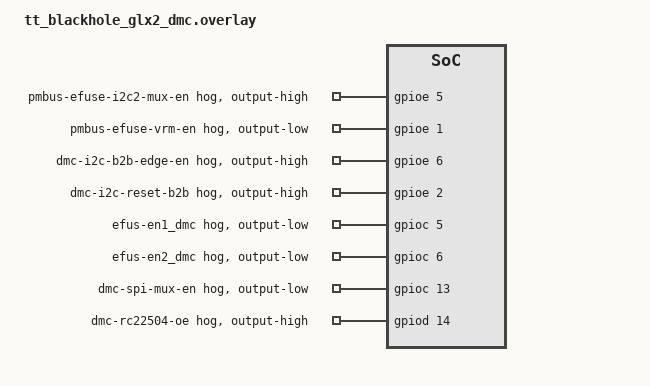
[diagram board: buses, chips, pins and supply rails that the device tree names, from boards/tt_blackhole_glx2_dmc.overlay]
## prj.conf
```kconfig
# Driver configuration
CONFIG_GPIO=y
CONFIG_I2C=y
CONFIG_SPI=y
CONFIG_FLASH=y

# Debug Configuration
CONFIG_DEBUG=y

# Disable watchdog for debugging
CONFIG_WATCHDOG=n

# Logging
CONFIG_LOG=y
CONFIG_CONSOLE=y
CONFIG_SERIAL=y
CONFIG_LOG_MAX_LEVEL=4
CONFIG_LOG_DEFAULT_LEVEL=4
CONFIG_KERNEL_LOG_LEVEL_OFF=y
CONFIG_LOG_RUNTIME_FILTERING=y
CONFIG_LOG_BUFFER_SIZE=32768

# create build/zephyr/zephyr.lst
CONFIG_OUTPUT_DISASSEMBLY=y

# Shell configuration. Backend is per-board.
CONFIG_SHELL=y
CONFIG_SHELL_TAB=y
CONFIG_SHELL_TAB_AUTOCOMPLETION=y
CONFIG_SHELL_HELP=y

# History off: bulk command lines do not fit in it.
CONFIG_SHELL_HISTORY=n

# Sized for a 1024-byte bulk transfer as hex. Ring buffers are per-board.
CONFIG_SHELL_ARGC_MAX=70
CONFIG_SHELL_CMD_BUFF_SIZE=2304

CONFIG_SHELL_STACK_SIZE=8192

CONFIG_I2C_SHELL_BUFFER_SIZE=64

# Shell subsystems. I3C shell is per-board.
CONFIG_GPIO_SHELL=y
CONFIG_I2C_SHELL=y
CONFIG_SPI_SHELL=y
CONFIG_FLASH_SHELL=y
CONFIG_LOG_CMDS=y

# Display subsystem, so the max7219 driver is built.
CONFIG_DISPLAY=y
CONFIG_DISPLAY_LOG_LEVEL_DBG=y
```

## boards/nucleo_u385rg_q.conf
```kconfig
# Enable RTT shell.
CONFIG_USE_SEGGER_RTT=y
CONFIG_SEGGER_RTT_SECTION_NONE=y
CONFIG_SHELL_BACKEND_RTT=y
CONFIG_SHELL_BACKEND_SERIAL=n
CONFIG_SHELL_LOG_BACKEND=y
CONFIG_LOG_BACKEND_RTT=n

# RTT buffers sized for a 1024-byte bulk transfer as hex.
CONFIG_SEGGER_RTT_BUFFER_SIZE_UP=3072
CONFIG_SEGGER_RTT_BUFFER_SIZE_DOWN=2304

# SMBus shell. SMBus initialises after I2C.
CONFIG_SMBUS=y
CONFIG_SMBUS_SHELL=y
CONFIG_SMBUS_INIT_PRIORITY=60
```

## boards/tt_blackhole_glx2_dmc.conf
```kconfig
# GLX2 exposes the interactive shell through SEGGER RTT rather than UART.
CONFIG_CONSOLE=y
CONFIG_UART_CONSOLE=n
CONFIG_SHELL_BACKEND_SERIAL=n
CONFIG_SHELL_PROMPT_UART=""
CONFIG_SHELL_BACKEND_RTT=y
CONFIG_SHELL_PROMPT_RTT="dm_test_app:~$ "
CONFIG_SHELL_ECHO_STATUS=n
CONFIG_SHELL_LOG_BACKEND=y
CONFIG_LOG_BACKEND_RTT=n
CONFIG_RTT_CONSOLE=y
CONFIG_SEGGER_RTT_SECTION_NONE=y
CONFIG_FLASH_JESD216_API=y

# RTT down buffer sized for a 1024-byte bulk transfer as hex.
CONFIG_SEGGER_RTT_BUFFER_SIZE_DOWN=2304

# SMBus shell. SMBus initialises after I2C.
CONFIG_SMBUS=y
CONFIG_SMBUS_SHELL=y
CONFIG_SMBUS_INIT_PRIORITY=60
```

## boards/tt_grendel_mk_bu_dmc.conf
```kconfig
# SMBus shell. SMBus initialises after I2C.
CONFIG_SMBUS=y
CONFIG_SMBUS_SHELL=y
CONFIG_SMBUS_INIT_PRIORITY=60

# UART shell on uart4, ring buffers sized for a 1024-byte bulk transfer as hex.
CONFIG_UART_CONSOLE=y
CONFIG_SHELL_BACKEND_SERIAL=y
CONFIG_SHELL_BACKEND_SERIAL_RX_RING_BUFFER_SIZE=2304
CONFIG_SHELL_BACKEND_SERIAL_TX_RING_BUFFER_SIZE=512

# Second shell on the USB-C port as CDC ACM.
CONFIG_USB_DEVICE_STACK_NEXT=y
CONFIG_USBD_CDC_ACM_CLASS=y
CONFIG_TT_USB_SHELL=y
CONFIG_CDC_ACM_SERIAL_INITIALIZE_AT_BOOT=y
CONFIG_CDC_ACM_SERIAL_PRODUCT_STRING="MK DMC shell"
CONFIG_CDC_ACM_SERIAL_MANUFACTURER_STRING="Tenstorrent"
CONFIG_UART_LINE_CTRL=y

# USB at DBG floods the UART shell during enumeration.
CONFIG_USBD_LOG_LEVEL_WRN=y
CONFIG_USBD_CDC_ACM_LOG_LEVEL_WRN=y
CONFIG_UDC_DRIVER_LOG_LEVEL_WRN=y

# I3C controller and OCCP over it. The mk_i3c_*.overlay files select the instance.
CONFIG_I3C=y
CONFIG_I3C_DUAL_ROLE=y
CONFIG_I3C_USE_IBI=n
CONFIG_I3C_SHELL=y
CONFIG_OCCP=y
CONFIG_OCCP_BACKEND_I3C=y

# I3C at DBG: this is the bus under bring-up.
CONFIG_I3C_LOG_LEVEL_DBG=y
CONFIG_I3C_STM32_LOG_LEVEL_DBG=y
```

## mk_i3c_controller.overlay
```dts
/*
 * Copyright (c) 2026 Tenstorrent AI ULC
 *
 * SPDX-License-Identifier: Apache-2.0
 */

/* MK BU DMC as I3C controller on i3c1, with the Binho Supernova as a known target. */

&i3c1 {
	status = "okay";

	binho_target: binho_target@2a020800000002 {
		compatible = "tenstorrent,smc-remoteproc";
		reg = <0x2a 0x0208 0x00000002>;
		status = "okay";
	};
};
```

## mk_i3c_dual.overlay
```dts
/*
 * Copyright (c) 2026 Tenstorrent AI ULC
 *
 * SPDX-License-Identifier: Apache-2.0
 */

/* MK BU DMC with both I3C roles in one image: i3c1 controller, i3c2 target. */

/ {
	aliases {
		i3c-target-dev = &i3c2;
	};
};

&i3c1 {
	status = "okay";

	binho_target: binho_target@2a020800000002 {
		compatible = "tenstorrent,smc-remoteproc";
		reg = <0x2a 0x0208 0x00000002>;
		status = "okay";
	};
};

&i3c2 {
	status = "okay";
	target-mode;
	mipi-instance = <0x8>;
};
```

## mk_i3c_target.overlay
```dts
/*
 * Copyright (c) 2026 Tenstorrent AI ULC
 *
 * SPDX-License-Identifier: Apache-2.0
 */

/* MK BU DMC as I3C target on i3c1, with the Binho Supernova as controller. */

/ {
	aliases {
		i3c-target-dev = &i3c1;
	};
};

&i3c1 {
	status = "okay";
	target-mode;
	mipi-instance = <0x8>;
};
```

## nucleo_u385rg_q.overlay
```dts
/*
 * Copyright (c) 2026 Tenstorrent AI ULC
 *
 * SPDX-License-Identifier: Apache-2.0
 */

/*
 * SPI test overlay for dm_test_app - nucleo_u385rg_q board only
 */
&spi1 {
	max7221: max7221@0 {
		compatible = "maxim,max7219";
		reg = <0>;
		spi-max-frequency = <1000000>;
		num-cascading = <1>;
		intensity = <8>;
		scan-limit = <7>;
	};
};

/ {
	aliases {
		i3c-target-dev = &i3c1;
	};
};

&i3c1 {
	pinctrl-0 = <&i3c1_scl_pb2 &i3c1_sda_pc1>;
	pinctrl-names = "default";
	status = "okay";
	i3c-scl-hz = <1000000>;   /* 1 MHz I3C frequency */
	i2c-scl-hz = <400000>;    /* 400 kHz I2C Fast Mode */
	target-mode;
	mipi-instance = <0x8>;
};

&i3c2 {
	pinctrl-0 = <&i3c2_scl_pb10 &i3c2_sda_pb14>;
	pinctrl-names = "default";
	status = "okay";
	i3c-scl-hz = <1000000>;   /* 1 MHz I3C frequency */
	i2c-scl-hz = <400000>;    /* 400 kHz I2C Fast Mode */

	i3c2_smc_remoteproc: smc_remoteproc@20813818000 {
		compatible = "tenstorrent,smc-remoteproc";
		reg = <0x0000 0x0208 0x13818000>;
		status = "okay";
	};
};
```

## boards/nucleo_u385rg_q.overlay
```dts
/*
 * Copyright (c) 2026 Tenstorrent AI ULC
 *
 * SPDX-License-Identifier: Apache-2.0
 */

/* GLX2 CMB stand-in. i2c3 and i2c2 SMBA use other pins: the CMB pads are not on LQFP64. */

/* Pins reused for I2C. */
&spi1 {
	status = "disabled";
};

&spi3 {
	status = "disabled";
};

/* i3c1 SCL moved off PB2, which i2c3 SMBA uses. */
&i3c1 {
	pinctrl-0 = <&i3c1_scl_pb13 &i3c1_sda_pc1>;
};

&i2c1 {
	pinctrl-0 = <&i2c1_scl_pb6 &i2c1_sda_pb7 &i2c1_smba_pb5>;
	pinctrl-names = "default";
	status = "okay";
};

&i2c2 {
	pinctrl-0 = <&i2c2_scl_pb10 &i2c2_sda_pa6 &i2c2_smba_pa1>;
	pinctrl-names = "default";
	status = "okay";
};

&i2c3 {
	pinctrl-0 = <&i2c3_scl_pa7 &i2c3_sda_pb4 &i2c3_smba_pb2>;
	pinctrl-names = "default";
	status = "okay";
};

/* SMBus over each I2C bus. The driver needs its own pinctrl-0. */
/ {
	smbus1: smbus1 {
		compatible = "st,stm32-smbus";
		#address-cells = <1>;
		#size-cells = <0>;
		i2c = <&i2c1>;
		pinctrl-0 = <&i2c1_scl_pb6 &i2c1_sda_pb7 &i2c1_smba_pb5>;
		pinctrl-names = "default";
		status = "okay";
	};

	smbus2: smbus2 {
		compatible = "st,stm32-smbus";
		#address-cells = <1>;
		#size-cells = <0>;
		i2c = <&i2c2>;
		pinctrl-0 = <&i2c2_scl_pb10 &i2c2_sda_pa6 &i2c2_smba_pa1>;
		pinctrl-names = "default";
		status = "okay";
	};

	smbus3: smbus3 {
		compatible = "st,stm32-smbus";
		#address-cells = <1>;
		#size-cells = <0>;
		i2c = <&i2c3>;
		pinctrl-0 = <&i2c3_scl_pa7 &i2c3_sda_pb4 &i2c3_smba_pb2>;
		pinctrl-names = "default";
		status = "okay";
	};
};
```

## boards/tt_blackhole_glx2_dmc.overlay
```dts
/*
 * Copyright (c) 2026 Tenstorrent AI ULC
 *
 * SPDX-License-Identifier: Apache-2.0
 */

#include <zephyr/dt-bindings/gpio/gpio.h>

&gpioe {
	status = "okay";

	/*
	 * BRING-UP: PE5 -- OE of U2202, eFuse PMBus onto DMC_I2C2.
	 */
	pmbus-efuse-i2c2-mux-en {
		gpio-hog;
		gpios = <5 GPIO_ACTIVE_HIGH>;
		output-high;
	};

	/*
	 * BRING-UP: PE1 -- PMBUS_EFUSE_VRM_EN_Z, reaching U231 through inverter U234, so GND
	 * is what closes the bridge. output-low is that GND.
	 */
	pmbus-efuse-vrm-en {
		gpio-hog;
		gpios = <1 GPIO_ACTIVE_HIGH>;
		output-low;
	};

	/*
	 * BRING-UP: PE6 -- DMC_I2C_B2B_EDGE_EN, OE of U232.
	 */
	dmc-i2c-b2b-edge-en {
		gpio-hog;
		gpios = <6 GPIO_ACTIVE_HIGH>;
		output-high;
	};

	/*
	 * BRING-UP: PE2 -- DMC_I2C_RESET_B2B_Z, reset of the U2201 TCA9546A mux. Active low,
	 * so high is out of reset and output-high is that release.
	 */
	dmc-i2c-reset-b2b {
		gpio-hog;
		gpios = <2 GPIO_ACTIVE_HIGH>;
		output-high;
	};
};

&gpioc {
	status = "okay";

	/*
	 * BRING-UP: PC5 -- GPIO1 for EFuse state enable. Disabled by default.
	 */
	efus-en1_dmc {
		gpio-hog;
		gpios = <5 GPIO_ACTIVE_HIGH>;
		output-low;
	};

	/*
	 * BRING-UP: PC6 -- GPIO2 for EFuse state enable. Disabled by default.
	 */
	efus-en2_dmc {
		gpio-hog;
		gpios = <6 GPIO_ACTIVE_HIGH>;
		output-low;
	};

	/*
	 * BRING-UP: PC13 -- DMC_SPI_MUX_EN_Z, the shared enable of the three cascaded
	 * TMUX1574 SPI muxes on sheet 28. Active low, so output-low is what turns them
	 * on.
	 */
	dmc-spi-mux-en {
		gpio-hog;
		gpios = <13 GPIO_ACTIVE_HIGH>;
		output-low;
	};
};

/*
 * BRING-UP: PD14 -- DMC_RC22504_OE_Z, the OE_nCS pin of the RC22504A reference
 * clock generator (U400) on sheet 24.
 */
&gpiod {
	status = "okay";

	dmc-rc22504-oe {
		gpio-hog;
		gpios = <14 GPIO_ACTIVE_HIGH>;
		output-high;
	};
};

/*
 * SMBus controllers over i2c1 and i2c2, for the `smbus` shell. smbus3 is not
 * declared here: the board devicetree defines it, with the Blackhole ARC as
 * a child at 0x0a, so a copy here would only merge into that node.
 */
/ {
	smbus1: smbus1 {
		compatible = "st,stm32-smbus";
		#address-cells = <1>;
		#size-cells = <0>;
		i2c = <&i2c1>;
		pinctrl-0 = <&i2c1_scl_pb6 &i2c1_sda_pb7 &i2c1_smba_pb5>;
		pinctrl-names = "default";
		status = "okay";
	};

	smbus2: smbus2 {
		compatible = "st,stm32-smbus";
		#address-cells = <1>;
		#size-cells = <0>;
		i2c = <&i2c2>;
		pinctrl-0 = <&i2c2_scl_pb10 &i2c2_sda_pa6 &i2c2_smba_pb12>;
		pinctrl-names = "default";
		status = "okay";
	};
};
```

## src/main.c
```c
/*
 * Copyright (c) 2026 Tenstorrent AI ULC
 *
 * SPDX-License-Identifier: Apache-2.0
 */

#include <zephyr/kernel.h>
#include <zephyr/logging/log.h>
#include <zephyr/shell/shell.h>
#include <errno.h>
#include <stdlib.h>
#include <string.h>

#if DT_NODE_EXISTS(DT_NODELABEL(max7221))
#include <zephyr/drivers/spi.h>
#endif

/* The i3c-target-dev alias names the instance the app serves as an I3C target. */
#if DT_HAS_ALIAS(i3c_target_dev)
#include <zephyr/drivers/i3c.h>
#include <zephyr/drivers/i3c/target_device.h>
#endif

LOG_MODULE_REGISTER(dm_test_app, LOG_LEVEL_INF);

#if DT_HAS_ALIAS(i3c_target_dev)
BUILD_ASSERT(IS_ENABLED(CONFIG_I3C_TARGET), "i3c-target-dev needs CONFIG_I3C_TARGET");
BUILD_ASSERT(DT_PROP_OR(DT_ALIAS(i3c_target_dev), target_mode, 0),
	     "i3c-target-dev must point at an instance with target-mode");

static const struct device *i3c_dev = DEVICE_DT_GET(DT_ALIAS(i3c_target_dev));

static uint8_t value;

static int target_prefill(void)
{
	return i3c_target_tx_write(i3c_dev, NULL, 8U, I3C_MSG_HDR_MODE0);
}

/* I3C target callback functions */
static int i3c_target_write_requested_cb(struct i3c_target_config *config)
{
	ARG_UNUSED(config);
	LOG_INF("I3C Target: Write requested callback entered");
	return 0;
}

static int i3c_target_write_received_cb(struct i3c_target_config *config, uint8_t val)
{
	ARG_UNUSED(config);
	LOG_INF("I3C Target: Write received callback entered, received: 0x%02x", val);
	return 0;
}

static int i3c_target_read_requested_cb(struct i3c_target_config *config, uint8_t *val)
{
	ARG_UNUSED(config);
	ARG_UNUSED(val);
	target_prefill();
	return 0;
}

static int i3c_target_read_processed_cb(struct i3c_target_config *config, uint8_t *val)
{
	ARG_UNUSED(config);
	*val = value++; /* Return dummy data */
	return 0;
}

static int i3c_target_stop_cb(struct i3c_target_config *config)
{
	ARG_UNUSED(config);
	LOG_INF("I3C Target: Stop callback entered");
	return 0;
}

/* I3C target callbacks structure */
static const struct i3c_target_callbacks i3c_target_callbacks = {
	.write_requested_cb = i3c_target_write_requested_cb,
	.write_received_cb = i3c_target_write_received_cb,
	.read_requested_cb = i3c_target_read_requested_cb,
	.read_processed_cb = i3c_target_read_processed_cb,
	.stop_cb = i3c_target_stop_cb,
};

/* I3C target configuration */
static struct i3c_target_config i3c_target_config = {
	.callbacks = &i3c_target_callbacks,
};

#endif

#if DT_NODE_EXISTS(DT_NODELABEL(max7221))
/*
 * POST-code display on the MAX7221 (U67) driving two LDQ-N514RI 4-digit
 * displays -- 8 digits total.
 *
 * The Zephyr max7219 display driver initialises the part (out of shutdown,
 * no-decode, intensity, scan limit); this writes the digit registers directly
 * over the same SPI spec, which keeps CS and clock timing under the SPI
 * driver's control. Frames assembled from separate shell commands do not latch
 * reliably, so POST codes are written here rather than from the host.
 */
#define MAX7221_REG_DIGIT0 0x01

/* No-decode segment mapping (datasheet Table 6): D7=DP, D6..D0 = A,B,C,D,E,F,G */
#define SEG_A  0x40
#define SEG_B  0x20
#define SEG_C  0x10
#define SEG_D  0x08
#define SEG_E  0x04
#define SEG_F  0x02
#define SEG_G  0x01
#define SEG_DP 0x80

/* Hex font 0-F. */
static const uint8_t post_font_hex[16] = {
	SEG_A | SEG_B | SEG_C | SEG_D | SEG_E | SEG_F,         /* 0 */
	SEG_B | SEG_C,                                         /* 1 */
	SEG_A | SEG_B | SEG_D | SEG_E | SEG_G,                 /* 2 */
	SEG_A | SEG_B | SEG_C | SEG_D | SEG_G,                 /* 3 */
	SEG_B | SEG_C | SEG_F | SEG_G,                         /* 4 */
	SEG_A | SEG_C | SEG_D | SEG_F | SEG_G,                 /* 5 */
	SEG_A | SEG_C | SEG_D | SEG_E | SEG_F | SEG_G,         /* 6 */
	SEG_A | SEG_B | SEG_C,                                 /* 7 */
	SEG_A | SEG_B | SEG_C | SEG_D | SEG_E | SEG_F | SEG_G, /* 8 */
	SEG_A | SEG_B | SEG_C | SEG_D | SEG_F | SEG_G,         /* 9 */
	SEG_A | SEG_B | SEG_C | SEG_E | SEG_F | SEG_G,         /* A */
	SEG_C | SEG_D | SEG_E | SEG_F | SEG_G,                 /* b */
	SEG_A | SEG_D | SEG_E | SEG_F,                         /* C */
	SEG_B | SEG_C | SEG_D | SEG_E | SEG_G,                 /* d */
	SEG_A | SEG_D | SEG_E | SEG_F | SEG_G,                 /* E */
	SEG_A | SEG_E | SEG_F | SEG_G,                         /* F */
};

/* Letters used by the "POST" banner. */
#define GLYPH_P (SEG_A | SEG_B | SEG_E | SEG_F | SEG_G)
#define GLYPH_O (SEG_A | SEG_B | SEG_C | SEG_D | SEG_E | SEG_F)
#define GLYPH_S (SEG_A | SEG_C | SEG_D | SEG_F | SEG_G)
#define GLYPH_T (SEG_D | SEG_E | SEG_F | SEG_G)

static const struct spi_dt_spec max7221_spi =
	SPI_DT_SPEC_GET(DT_NODELABEL(max7221), SPI_WORD_SET(8) | SPI_OP_MODE_MASTER);

static int max7221_write(uint8_t reg, uint8_t val)
{
	uint8_t frame[2] = {reg, val};
	const struct spi_buf buf = {.buf = frame, .len = sizeof(frame)};
	const struct spi_buf_set tx = {.buffers = &buf, .count = 1};

	return spi_write_dt(&max7221_spi, &tx);
}

/* Write the 8 digit registers from a segment-pattern array, DIG0 first. */
static int post_display_raw(const uint8_t segs[8])
{
	for (int digit = 0; digit < 8; digit++) {
		int ret = max7221_write(MAX7221_REG_DIGIT0 + digit, segs[digit]);

		if (ret < 0) {
			LOG_ERR("MAX7221 digit %d write failed: %d", digit, ret);
			return ret;
		}
	}
	return 0;
}

/*
 * Physical left-to-right position -> MAX7221 DIG index.
 *
 * Measured on the bench with `post map`: the leftmost four positions are D21
 * carrying DIG4..DIG7, then D22 carrying DIG0..DIG3. Everything above this
 * function works in reading order and lets this table do the translation.
 */
static const uint8_t post_pos_to_dig[8] = {4, 5, 6, 7, 0, 1, 2, 3};

/*
 * 180-degree rotation, for a fixture that mounts the board upside down.
 *
 * Two independent transforms, and both are needed -- doing either alone leaves
 * the display unreadable:
 *
 *   X: the digit order reverses. What was the leftmost physical position is now
 *      the viewer's rightmost.
 *   Y: each glyph is rotated, which on seven segments is a segment swap:
 *      a<->d, b<->e, c<->f, with g mapping to itself. The decimal point has no
 *      rotated counterpart and is left where it is.
 *
 * Rotating is not the same as re-reading a mirrored display: some glyphs are
 * symmetric (0 2 5 8 and blank), but others become a *different* character --
 * 6 and 9 swap, and 7 becomes L. So the transform has to be applied to the
 * segment data; you cannot compensate by squinting.
 *
 * The transform is its own inverse, so `post flip` toggles cleanly.
 *
 * Defaults to enabled to match the current fixture. `post flip off` restores
 * the upright mapping without a reflash, since fixtures change more often than
 * firmware.
 */
static bool post_flipped = true;

static uint8_t post_rotate_segments(uint8_t segs)
{
	uint8_t out = segs & (SEG_G | SEG_DP);

	if (segs & SEG_A) {
		out |= SEG_D;
	}
	if (segs & SEG_D) {
		out |= SEG_A;
	}
	if (segs & SEG_B) {
		out |= SEG_E;
	}
	if (segs & SEG_E) {
		out |= SEG_B;
	}
	if (segs & SEG_C) {
		out |= SEG_F;
	}
	if (segs & SEG_F) {
		out |= SEG_C;
	}
	return out;
}

/* The MAX7221 digit that shows reading-order position `pos`. */
static uint8_t post_dig_for(int pos)
{
	return post_pos_to_dig[post_flipped ? (8 - 1 - pos) : pos];
}

/* Write segment patterns given in reading order (leftmost first). */
static int post_display_positions(const uint8_t pos_segs[8])
{
	uint8_t segs[8] = {0};

	for (int pos = 0; pos < 8; pos++) {
		uint8_t value = pos_segs[pos];

		if (post_flipped) {
			value = post_rotate_segments(value);
		}
		segs[post_dig_for(pos)] = value;
	}
	return post_display_raw(segs);
}

/* Show "POST" then a 4-digit hex code, in reading order. */
static int post_code_show(uint16_t code)
{
	const uint8_t pos_segs[8] = {
		GLYPH_P,
		GLYPH_O,
		GLYPH_S,
		GLYPH_T,
		post_font_hex[(code >> 12) & 0xF],
		post_font_hex[(code >> 8) & 0xF],
		post_font_hex[(code >> 4) & 0xF],
		post_font_hex[code & 0xF],
	};

	LOG_INF("POST code %04x", code);
	return post_display_positions(pos_segs);
}

/* Light every segment of every digit from the digit registers (not display
 * test) -- proves each digit position works with real data.
 */
static int post_all_segments(void)
{
	uint8_t segs[8];

	memset(segs, 0xFF, sizeof(segs));
	return post_display_raw(segs);
}

/* Write numeral N into digit N: the display then spells out its own physical
 * digit order, so the DIG-to-position mapping can be read at a glance.
 */
static int post_map_digits(void)
{
	uint8_t pos_segs[8];

	/* Numeral N at physical position N: reads 01234567 left to right when
	 * post_pos_to_dig is correct -- a one-glance self-check of the mapping.
	 */
	for (int pos = 0; pos < 8; pos++) {
		pos_segs[pos] = post_font_hex[pos];
	}
	return post_display_positions(pos_segs);
}

/* Walk one digit at a time so a dead position is obvious. */
static int post_walk_digits(const struct shell *sh)
{
	for (int pos = 0; pos < 8; pos++) {
		uint8_t pos_segs[8] = {0};

		pos_segs[pos] = 0xFF;
		int ret = post_display_positions(pos_segs);

		if (ret < 0) {
			return ret;
		}
		shell_print(sh, "  position %d from left lit (DIG%d)", pos + 1, post_dig_for(pos));
		k_sleep(K_MSEC(1200));
	}
	return 0;
}

/*
 * Full seven-segment character library: '0'-'9', 'A'-'Z', space and a little
 * punctuation.
 *
 * Seven segments cannot draw the whole alphabet, so this table is explicit about
 * how each letter is compromised rather than quietly showing something wrong:
 *
 *   - POST_ALPHA_LOWERCASE (B D N R T): the uppercase glyph would be
 *     indistinguishable from a digit -- uppercase 'B' reads as '8', 'D' as '0' --
 *     so the lowercase form is used. Legible, just not the case you typed.
 *   - POST_ALPHA_APPROX (K M V W X): no seven-segment form exists. K and X fall
 *     back to the 'H' shape, M to a top-and-shoulders shape, V and W to the 'U'
 *     shape. These are stand-ins and will not read as the intended letter.
 *   - Inherently ambiguous with digits, and left that way because the shapes are
 *     genuinely identical: I/1, O/0, S/5, Z/2, and G is close to 6.
 *
 * '$' has no form either and renders as 'S', which is the conventional stand-in.
 */
#define POST_GLYPH_NONE 0xFF

/* 'A' through 'Z'. */
static const uint8_t post_font_alpha[26] = {
	SEG_A | SEG_B | SEG_C | SEG_E | SEG_F | SEG_G, /* A */
	SEG_C | SEG_D | SEG_E | SEG_F | SEG_G,         /* b (lowercase) */
	SEG_A | SEG_D | SEG_E | SEG_F,                 /* C */
	SEG_B | SEG_C | SEG_D | SEG_E | SEG_G,         /* d (lowercase) */
	SEG_A | SEG_D | SEG_E | SEG_F | SEG_G,         /* E */
	SEG_A | SEG_E | SEG_F | SEG_G,                 /* F */
	SEG_A | SEG_C | SEG_D | SEG_E | SEG_F,         /* G (close to 6) */
	SEG_B | SEG_C | SEG_E | SEG_F | SEG_G,         /* H */
	SEG_B | SEG_C,                                 /* I (same as 1) */
	SEG_B | SEG_C | SEG_D | SEG_E,                 /* J */
	SEG_B | SEG_C | SEG_E | SEG_F | SEG_G,         /* K -- approx, H shape */
	SEG_D | SEG_E | SEG_F,                         /* L */
	SEG_A | SEG_C | SEG_E,                         /* M -- approx */
	SEG_C | SEG_E | SEG_G,                         /* n (lowercase) */
	SEG_A | SEG_B | SEG_C | SEG_D | SEG_E | SEG_F, /* O (same as 0) */
	SEG_A | SEG_B | SEG_E | SEG_F | SEG_G,         /* P */
	SEG_A | SEG_B | SEG_C | SEG_F | SEG_G,         /* Q */
	SEG_E | SEG_G,                                 /* r (lowercase) */
	SEG_A | SEG_C | SEG_D | SEG_F | SEG_G,         /* S (same as 5) */
	SEG_D | SEG_E | SEG_F | SEG_G,                 /* t (lowercase) */
	SEG_B | SEG_C | SEG_D | SEG_E | SEG_F,         /* U */
	SEG_B | SEG_C | SEG_D | SEG_E | SEG_F,         /* V -- approx, U shape */
	SEG_B | SEG_C | SEG_D | SEG_E | SEG_F,         /* W -- approx, U shape */
	SEG_B | SEG_C | SEG_E | SEG_F | SEG_G,         /* X -- approx, H shape */
	SEG_B | SEG_C | SEG_D | SEG_F | SEG_G,         /* Y */
	SEG_A | SEG_B | SEG_D | SEG_E | SEG_G,         /* Z (same as 2) */
};

/* Bit n = letter 'A' + n. Rendered lowercase because uppercase would read as a digit. */
#define POST_ALPHA_LOWERCASE                                                                       \
	(BIT('B' - 'A') | BIT('D' - 'A') | BIT('N' - 'A') | BIT('R' - 'A') | BIT('T' - 'A'))

/* Bit n = letter 'A' + n. No seven-segment form; the glyph is a stand-in. */
#define POST_ALPHA_APPROX                                                                          \
	(BIT('K' - 'A') | BIT('M' - 'A') | BIT('V' - 'A') | BIT('W' - 'A') | BIT('X' - 'A'))

/* True if this letter's glyph is a compromise worth telling the operator about. */
bool post_glyph_is_exact(char ch)
{
	if (ch >= 'a' && ch <= 'z') {
		ch = ch - 'a' + 'A';
	}
	if (ch < 'A' || ch > 'Z') {
		return ch != '$';
	}
	return !(BIT(ch - 'A') & (POST_ALPHA_LOWERCASE | POST_ALPHA_APPROX));
}

static uint8_t post_glyph(char ch)
{
	if (ch >= '0' && ch <= '9') {
		return post_font_hex[ch - '0'];
	}
	if (ch >= 'a' && ch <= 'z') {
		ch = ch - 'a' + 'A';
	}
	if (ch >= 'A' && ch <= 'Z') {
		return post_font_alpha[ch - 'A'];
	}

	switch (ch) {
	case ' ':
		return 0;
	case '$':
		return post_font_alpha['S' - 'A']; /* no glyph; 'S' stands in */
	case '-':
		return SEG_G;
	case '_':
		return SEG_D;
	case '=':
		return SEG_D | SEG_G;
	case '.':
		return SEG_DP;
	case '?':
		return SEG_A | SEG_B | SEG_E | SEG_G;
	case '*':
		return SEG_A | SEG_B | SEG_F | SEG_G; /* degree-ish */
	default:
		return POST_GLYPH_NONE;
	}
}

/* Show an arbitrary string, left-aligned, blanking any unused digits. */
static int post_text_show(const struct shell *sh, const char *text)
{
	uint8_t pos_segs[8] = {0};
	char compromised[9] = {0};
	size_t n_compromised = 0;
	size_t len = strlen(text);

	if (len > ARRAY_SIZE(pos_segs)) {
		shell_error(sh, "\"%s\" is %u characters; the display has %u digits", text,
			    (unsigned int)len, (unsigned int)ARRAY_SIZE(pos_segs));
		return -EINVAL;
	}

	for (size_t i = 0; i < len; i++) {
		uint8_t segs = post_glyph(text[i]);

		if (segs == POST_GLYPH_NONE) {
			shell_error(sh, "no seven-segment glyph for '%c'", text[i]);
			return -EINVAL;
		}
		pos_segs[i] = segs;

		if (!post_glyph_is_exact(text[i])) {
			compromised[n_compromised++] = text[i];
		}
	}

	if (n_compromised > 0) {
		shell_warn(sh, "%s rendered as a lowercase or approximate glyph", compromised);
	}

	LOG_INF("POST text \"%s\"", text);
	return post_display_positions(pos_segs);
}

/*
 * Scroll a message right-to-left across the 8 digits.
 *
 * The segment buffer is padded with a blank display's worth on each side, so the
 * text slides in from the right and out to the left rather than appearing
 * mid-screen. Each frame is one position further along that buffer. The scroll
 * ends resting on the message's first characters, because finishing on a blank
 * display looks like a failure.
 *
 * This blocks the shell for repeats * (len + 8) * POST_BANNER_STEP_MS, the same
 * way `post walk` does.
 */
#define POST_BANNER_MAX         32
#define POST_BANNER_STEP_MS     220
#define POST_BANNER_MAX_REPEATS 20

static int post_banner_show(const struct shell *sh, const char *text, unsigned int repeats)
{
	uint8_t segs[POST_BANNER_MAX + 2 * 8] = {0};
	size_t len = strlen(text);

	if (len == 0 || len > POST_BANNER_MAX) {
		shell_error(sh, "banner text must be 1 to %u characters",
			    (unsigned int)POST_BANNER_MAX);
		return -EINVAL;
	}
	if (repeats == 0 || repeats > POST_BANNER_MAX_REPEATS) {
		shell_error(sh, "repeats must be 1 to %u", POST_BANNER_MAX_REPEATS);
		return -EINVAL;
	}

	for (size_t i = 0; i < len; i++) {
		uint8_t glyph = post_glyph(text[i]);

		if (glyph == POST_GLYPH_NONE) {
			shell_error(sh, "no seven-segment glyph for '%c'", text[i]);
			return -EINVAL;
		}
		segs[8 + i] = glyph;
	}

	LOG_INF("POST banner \"%s\" x%u", text, repeats);

	for (unsigned int pass = 0; pass < repeats; pass++) {
		/* Frame 0 is an all-blank window, so start at 1. */
		for (size_t frame = 1; frame <= len + 8; frame++) {
			int ret = post_display_positions(&segs[frame]);

			if (ret < 0) {
				return ret;
			}
			k_sleep(K_MSEC(POST_BANNER_STEP_MS));
		}
	}

	/* Rest on the start of the message rather than on a blank display. */
	return post_display_positions(&segs[8]);
}

static int cmd_post(const struct shell *sh, size_t argc, char **argv)
{
	int ret;

	if (strcmp(argv[1], "test") == 0) {
		ret = post_all_segments();
		if (ret == 0) {
			shell_print(sh, "all digits: every segment on (from digit data)");
		}
	} else if (strcmp(argv[1], "walk") == 0) {
		ret = post_walk_digits(sh);
	} else if (strcmp(argv[1], "flip") == 0) {
		if (argc > 2) {
			if (strcmp(argv[2], "on") == 0) {
				post_flipped = true;
			} else if (strcmp(argv[2], "off") == 0) {
				post_flipped = false;
			} else {
				shell_error(sh, "usage: post flip [on|off]");
				return -EINVAL;
			}
		} else {
			post_flipped = !post_flipped;
		}
		ret = post_code_show(0x0001);
		shell_print(sh, "display rotation %s",
			    post_flipped ? "ON (fixture upside down)" : "OFF (upright)");
	} else if (strcmp(argv[1], "banner") == 0) {
		unsigned int repeats = 1;

		if (argc < 3) {
			shell_error(sh, "usage: post banner <string> [repeats]");
			return -EINVAL;
		}
		if (argc > 3) {
			repeats = (unsigned int)strtoul(argv[3], NULL, 10);
		}
		ret = post_banner_show(sh, argv[2], repeats);
		if (ret == 0) {
			shell_print(sh, "scrolled \"%s\" %u time(s)", argv[2], repeats);
		}
	} else if (strcmp(argv[1], "text") == 0) {
		if (argc < 3) {
			shell_error(sh, "usage: post text <string>");
			return -EINVAL;
		}
		ret = post_text_show(sh, argv[2]);
		if (ret == 0) {
			shell_print(sh, "displayed \"%s\"", argv[2]);
		}
	} else if (strcmp(argv[1], "map") == 0) {
		ret = post_map_digits();
		if (ret == 0) {
			shell_print(sh, "digit N shows numeral N -- read the display "
					"left to right to get the physical order");
		}
	} else {
		uint16_t code = (uint16_t)strtoul(argv[1], NULL, 16);

		ret = post_code_show(code);
		if (ret == 0) {
			shell_print(sh, "POST %04x displayed", code);
		}
	}

	if (ret < 0) {
		shell_error(sh, "failed to write display: %d", ret);
	}
	return ret;
}

SHELL_CMD_ARG_REGISTER(
	post, NULL,
	"MAX7221 POST-code display\n"
	"Usage: post <hex code>   e.g. post 0042\n"
	"       post test         all segments on, every digit\n"
	"       post walk         light one digit at a time\n"
	"       post map          write numeral N into digit N\n"
	"       post banner <str> [n]  scroll up to 32 characters, n times\n"
	"       post flip [on|off]     180-degree rotation for a flipped\n"
	"                              fixture; toggles when given no argument\n"
	"       post text <str>   show up to 8 characters, e.g. post text DANIEL\n"
	"                         A-Z, 0-9, space and - _ = . ? * are renderable\n"
	"                         B D N R T show lowercase; K M V W X are approximations",
	cmd_post, 2, 2);
#endif /* max7221 */

int main(void)
{
	LOG_INF("Hello World! This is dm_test_app running on %s", CONFIG_BOARD);

#if DT_NODE_EXISTS(DT_NODELABEL(max7221))
	/* Boot POST code: 0x0001 = firmware reached main(). */
	post_code_show(0x0001);
#endif

#if DT_HAS_ALIAS(i3c_target_dev)
	int ret;

	if (!device_is_ready(i3c_dev)) {
		LOG_ERR("I3C device is not ready");
		return -ENODEV;
	}

	/* Register I3C target with address 0 */
	ret = i3c_target_register(i3c_dev, &i3c_target_config);
	if (ret < 0) {
		LOG_ERR("Failed to register I3C target: %d", ret);
		return ret;
	}

	target_prefill();

	LOG_INF("I3C target registered successfully");
#endif

	while (1) {
		k_sleep(K_SECONDS(5));
	}

	return 0;
}
```

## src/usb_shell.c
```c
/*
 * Copyright (c) 2026 Tenstorrent AI ULC
 *
 * SPDX-License-Identifier: Apache-2.0
 */

/*
 * A second shell instance, on the USB CDC ACM port.
 *
 * Zephyr's serial shell backend is a single instance bound to the
 * ``zephyr,shell-uart`` chosen node (subsys/shell/backends/shell_uart.c binds
 * one SHELL_DEFINE to DT_CHOSEN(zephyr_shell_uart) and nothing else). Pointing
 * that chosen node at the CDC ACM -- what the upstream ``cdc-acm-console``
 * snippet does -- would therefore have *moved* the shell to USB and taken it off
 * uart4, breaking every host tool that drives this DMC over the FTDI.
 *
 * So instead of moving it, this declares a second transport and shell against
 * the same public SHELL_UART_DEFINE API. Both run at once: uart4 keeps its
 * shell, and the USB-C port gets an equivalent one.
 *
 * The prompt is deliberately CONFIG_SHELL_PROMPT_UART, the same string the uart4
 * shell uses: host tools find the end of a reply by matching the prompt, so the
 * two transports have to be indistinguishable from the outside.
 */

#include <errno.h>

#include <zephyr/device.h>
#include <zephyr/devicetree.h>
#include <zephyr/init.h>
#include <zephyr/kernel.h>
#include <zephyr/shell/shell.h>
#include <zephyr/shell/shell_uart.h>

#define USB_SHELL_NODE DT_NODELABEL(cdc_acm_uart0)

#if DT_NODE_HAS_STATUS_OKAY(USB_SHELL_NODE)

SHELL_UART_DEFINE(shell_transport_usb);
SHELL_DEFINE(shell_usb, CONFIG_SHELL_PROMPT_UART, &shell_transport_usb,
	     CONFIG_SHELL_BACKEND_SERIAL_LOG_MESSAGE_QUEUE_SIZE,
	     CONFIG_SHELL_BACKEND_SERIAL_LOG_MESSAGE_QUEUE_TIMEOUT, SHELL_FLAG_OLF_CRLF);

static int enable_shell_usb(void)
{
	const struct device *const dev = DEVICE_DT_GET(USB_SHELL_NODE);
	static const struct shell_backend_config_flags cfg_flags =
		SHELL_DEFAULT_BACKEND_CONFIG_FLAGS;

	if (!device_is_ready(dev)) {
		return -ENODEV;
	}

	/*
	 * log_backend = false: the uart4 shell is already the log backend, and a
	 * second one would duplicate every message. Logs stay on the FTDI, which
	 * also keeps them somewhere readable while USB itself is being brought up.
	 */
	shell_init(&shell_usb, dev, cfg_flags, false, 0);

	return 0;
}

/*
 * Same priority the built-in backend uses. The CDC ACM UART device itself is
 * created at PRE_KERNEL_1 (CONFIG_SERIAL_INIT_PRIORITY), so it is ready well
 * before this runs; writes made before the host enumerates are simply dropped.
 */
SYS_INIT(enable_shell_usb, POST_KERNEL, CONFIG_SHELL_BACKEND_SERIAL_INIT_PRIORITY);

#endif /* DT_NODE_HAS_STATUS_OKAY(USB_SHELL_NODE) */
```
